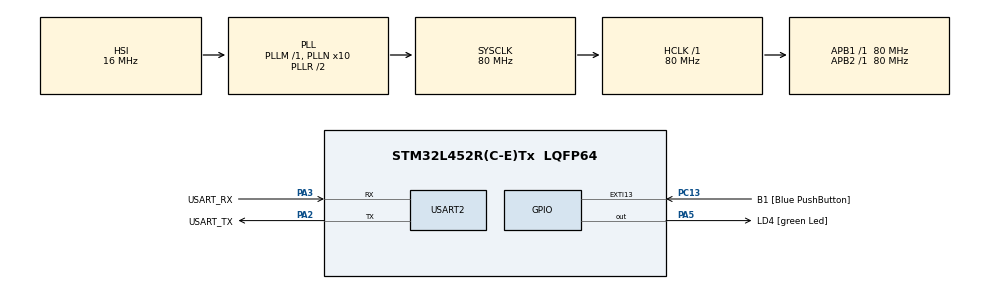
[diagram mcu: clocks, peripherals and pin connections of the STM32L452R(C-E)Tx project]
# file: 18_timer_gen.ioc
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Mcu.Family=STM32L4
Mcu.Name=STM32L452R(C-E)Tx
Mcu.Package=LQFP64
NVIC.EXTI15_10_IRQn=true\:0\:0\:false\:false\:true\:true\:true\:true
NVIC.PriorityGroup=NVIC_PRIORITYGROUP_4
NVIC.TIM1_UP_TIM16_IRQn=true\:0\:0\:false\:false\:true\:true\:true\:true
PA13\ (JTMS/SWDIO).GPIO_Label=TMS
PA13\ (JTMS/SWDIO).Mode=Serial_Wire
PA13\ (JTMS/SWDIO).Signal=SYS_JTMS-SWDIO
PA14\ (JTCK/SWCLK).GPIO_Label=TCK
PA14\ (JTCK/SWCLK).Mode=Serial_Wire
PA14\ (JTCK/SWCLK).Signal=SYS_JTCK-SWCLK
PA2.GPIO_Label=USART_TX
PA2.GPIO_Mode=GPIO_MODE_AF_PP
PA2.GPIO_PuPd=GPIO_NOPULL
PA2.GPIO_Speed=GPIO_SPEED_FREQ_VERY_HIGH
PA2.Mode=Asynchronous
PA2.Signal=USART2_TX
PA3.GPIO_Label=USART_RX
PA3.GPIO_Mode=GPIO_MODE_AF_PP
PA3.GPIO_PuPd=GPIO_NOPULL
PA3.GPIO_Speed=GPIO_SPEED_FREQ_VERY_HIGH
PA3.Mode=Asynchronous
PA3.Signal=USART2_RX
PA5.GPIO_Label=LD4 [green Led]
PA5.GPIO_ModeDefaultOutputPP=GPIO_MODE_OUTPUT_PP
PA5.GPIO_PuPd=GPIO_NOPULL
PA5.GPIO_Speed=GPIO_SPEED_FREQ_LOW
PA5.Signal=GPIO_Output
PB3\ (JTDO/TRACESWO).GPIO_Label=SWO
PB3\ (JTDO/TRACESWO).Signal=SYS_JTDO-SWO
PC13.GPIO_Label=B1 [Blue PushButton]
PC13.GPIO_ModeDefaultEXTI=GPIO_MODE_IT_FALLING
PC13.GPIO_PuPd=GPIO_NOPULL
PC13.Signal=GPXTI13
PC14-OSC32_IN\ (PC14).Mode=LSE-External-Oscillator
PC14-OSC32_IN\ (PC14).Signal=RCC_OSC32_IN
PC15-OSC32_OUT\ (PC15).Mode=LSE-External-Oscillator
PC15-OSC32_OUT\ (PC15).Signal=RCC_OSC32_OUT
PH0-OSC_IN\ (PH0).Signal=RCC_OSC_IN
PH1-OSC_OUT\ (PH1).Signal=RCC_OSC_OUT
ProjectManager.HeapSize=0x200
ProjectManager.StackSize=0x400
ProjectManager.TargetToolchain=STM32CubeIDE
RCC.ADCFreq_Value=64000000
RCC.AHBFreq_Value=80000000
RCC.APB1Freq_Value=80000000
RCC.APB1TimFreq_Value=80000000
RCC.APB2Freq_Value=80000000
RCC.APB2TimFreq_Value=80000000
RCC.CortexFreq_Value=80000000
RCC.HCLKFreq_Value=80000000
RCC.HSE_VALUE=8000000
RCC.HSI48_VALUE=48000000
RCC.HSI_VALUE=16000000
RCC.MSI_VALUE=4000000
RCC.PLLN=10
RCC.PLLSourceVirtual=RCC_PLLSOURCE_HSI
RCC.PREFETCH_ENABLE=1
RCC.SYSCLKFreq_VALUE=80000000
RCC.SYSCLKSource=RCC_SYSCLKSOURCE_PLLCLK
RCC.USBFreq_Value=64000000
RCC.VCOOutputFreq_Value=160000000
TIM16.ClockDivision=TIM_CLOCKDIVISION_DIV1
TIM16.Period=1000-1
TIM16.Prescaler=0
USART2.VirtualMode-Asynchronous=VM_ASYNC
VP_TIM16_VS_ClockSourceINT.Mode=Enable_Timer
board=NUCLEO-L452RE

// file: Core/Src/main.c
/* USER CODE BEGIN Header */
/**
  ******************************************************************************
  * @file           : main.c
  * @brief          : Main program body
  ******************************************************************************
  * @attention
  *
  * Copyright (c) 2022 STMicroelectronics.
  * All rights reserved.
  *
  * This software is licensed under terms that can be found in the LICENSE file
  * in the root directory of this software component.
  * If no LICENSE file comes with this software, it is provided AS-IS.
  *
  ******************************************************************************
  */
/* USER CODE END Header */
#include "main.h"

/* USER CODE BEGIN Includes */
#include "fm_pgen.h"
void fm_pgen_start(unsigned pulses, unsigned freq);
/* USER CODE END Includes */

TIM_HandleTypeDef htim16;

UART_HandleTypeDef huart2;

/* USER CODE BEGIN PV */
unsigned global_gen_pulses;
/* USER CODE END PV */

void SystemClock_Config(void);
static void MX_GPIO_Init(void);
static void MX_USART2_UART_Init(void);
static void MX_TIM16_Init(void);

int main(void)
{

  /* MCU Configuration--------------------------------------------------------*/

  /* Reset of all peripherals, Initializes the Flash interface and the Systick. */
  HAL_Init();

  /* Configure the system clock */
  SystemClock_Config();

  /* Initialize all configured peripherals */
  MX_GPIO_Init();
  MX_USART2_UART_Init();
  MX_TIM16_Init();
  /* USER CODE BEGIN 2 */
  fm_pgen_start(5, 1);

  /* USER CODE END 2 */

  /* Infinite loop */
  while(1)
  {

  }
}

void SystemClock_Config(void)
{
  RCC_OscInitTypeDef RCC_OscInitStruct = {0};
  RCC_ClkInitTypeDef RCC_ClkInitStruct = {0};

  /** Configure the main internal regulator output voltage
  */
  if (HAL_PWREx_ControlVoltageScaling(PWR_REGULATOR_VOLTAGE_SCALE1) != HAL_OK)
  {
    Error_Handler();
  }

  /** Initializes the RCC Oscillators according to the specified parameters
  * in the RCC_OscInitTypeDef structure.
  */
  RCC_OscInitStruct.OscillatorType = RCC_OSCILLATORTYPE_HSI;
  RCC_OscInitStruct.HSIState = RCC_HSI_ON;
  RCC_OscInitStruct.HSICalibrationValue = RCC_HSICALIBRATION_DEFAULT;
  RCC_OscInitStruct.PLL.PLLState = RCC_PLL_ON;
  RCC_OscInitStruct.PLL.PLLSource = RCC_PLLSOURCE_HSI;
  RCC_OscInitStruct.PLL.PLLM = 1;
  RCC_OscInitStruct.PLL.PLLN = 10;
  RCC_OscInitStruct.PLL.PLLP = RCC_PLLP_DIV7;
  RCC_OscInitStruct.PLL.PLLQ = RCC_PLLQ_DIV2;
  RCC_OscInitStruct.PLL.PLLR = RCC_PLLR_DIV2;
  if (HAL_RCC_OscConfig(&RCC_OscInitStruct) != HAL_OK)
  {
    Error_Handler();
  }

  /** Initializes the CPU, AHB and APB buses clocks
  */
  RCC_ClkInitStruct.ClockType = RCC_CLOCKTYPE_HCLK|RCC_CLOCKTYPE_SYSCLK
                              |RCC_CLOCKTYPE_PCLK1|RCC_CLOCKTYPE_PCLK2;
  RCC_ClkInitStruct.SYSCLKSource = RCC_SYSCLKSOURCE_PLLCLK;
  RCC_ClkInitStruct.AHBCLKDivider = RCC_SYSCLK_DIV1;
  RCC_ClkInitStruct.APB1CLKDivider = RCC_HCLK_DIV1;
  RCC_ClkInitStruct.APB2CLKDivider = RCC_HCLK_DIV1;

  if (HAL_RCC_ClockConfig(&RCC_ClkInitStruct, FLASH_LATENCY_4) != HAL_OK)
  {
    Error_Handler();
  }
}

static void MX_TIM16_Init(void)
{

  htim16.Instance = TIM16;
  htim16.Init.Prescaler = 0;
  htim16.Init.CounterMode = TIM_COUNTERMODE_UP;
  htim16.Init.Period = 1000-1;
  htim16.Init.ClockDivision = TIM_CLOCKDIVISION_DIV1;
  htim16.Init.RepetitionCounter = 0;
  htim16.Init.AutoReloadPreload = TIM_AUTORELOAD_PRELOAD_DISABLE;
  if (HAL_TIM_Base_Init(&htim16) != HAL_OK)
  {
    Error_Handler();
  }

}

static void MX_USART2_UART_Init(void)
{

  huart2.Instance = USART2;
  huart2.Init.BaudRate = 115200;
  huart2.Init.WordLength = UART_WORDLENGTH_8B;
  huart2.Init.StopBits = UART_STOPBITS_1;
  huart2.Init.Parity = UART_PARITY_NONE;
  huart2.Init.Mode = UART_MODE_TX_RX;
  huart2.Init.HwFlowCtl = UART_HWCONTROL_NONE;
  huart2.Init.OverSampling = UART_OVERSAMPLING_16;
  huart2.Init.OneBitSampling = UART_ONE_BIT_SAMPLE_DISABLE;
  huart2.AdvancedInit.AdvFeatureInit = UART_ADVFEATURE_NO_INIT;
  if (HAL_UART_Init(&huart2) != HAL_OK)
  {
    Error_Handler();
  }

}

static void MX_GPIO_Init(void)
{
  GPIO_InitTypeDef GPIO_InitStruct = {0};

  /* GPIO Ports Clock Enable */
  __HAL_RCC_GPIOC_CLK_ENABLE();
  __HAL_RCC_GPIOH_CLK_ENABLE();
  __HAL_RCC_GPIOA_CLK_ENABLE();
  __HAL_RCC_GPIOB_CLK_ENABLE();

  /*Configure GPIO pin Output Level */
  HAL_GPIO_WritePin(LD4_GPIO_Port, LD4_Pin, GPIO_PIN_RESET);

  /*Configure GPIO pin : B1_Pin */
  GPIO_InitStruct.Pin = B1_Pin;
  GPIO_InitStruct.Mode = GPIO_MODE_IT_FALLING;
  GPIO_InitStruct.Pull = GPIO_NOPULL;
  HAL_GPIO_Init(B1_GPIO_Port, &GPIO_InitStruct);

  /*Configure GPIO pin : LD4_Pin */
  GPIO_InitStruct.Pin = LD4_Pin;
  GPIO_InitStruct.Mode = GPIO_MODE_OUTPUT_PP;
  GPIO_InitStruct.Pull = GPIO_NOPULL;
  GPIO_InitStruct.Speed = GPIO_SPEED_FREQ_LOW;
  HAL_GPIO_Init(LD4_GPIO_Port, &GPIO_InitStruct);

  /* EXTI interrupt init*/
  HAL_NVIC_SetPriority(EXTI15_10_IRQn, 0, 0);
  HAL_NVIC_EnableIRQ(EXTI15_10_IRQn);

}

/* USER CODE BEGIN 4 */
void HAL_TIM_PeriodElapsedCallback(TIM_HandleTypeDef *htim)
{
  if(htim == &htim16)
  {
    if(global_gen_pulses)
    {
      HAL_GPIO_TogglePin(GPIOA, GPIO_PIN_5);
      global_gen_pulses--;
    }
    else
    {
      HAL_TIM_Base_Stop(&htim16);
    }

  }
}

void fm_pgen_start(unsigned pulses, unsigned freq)
{
  const unsigned TIMER_FREQ = 80000000;
  unsigned prescaler;
  unsigned period;

  global_gen_pulses = pulses * 2;

  tune_timer(freq, TIMER_FREQ, &prescaler, &period);
  htim16.Init.Period = period - 1;
  htim16.Init.Prescaler = prescaler - 1;
  HAL_TIM_Base_Init(&htim16);
  HAL_TIM_Base_Start_IT(&htim16);
}

/* USER CODE END 4 */

void Error_Handler(void)
{
  __disable_irq();
  while (1)
  {
  }
}
